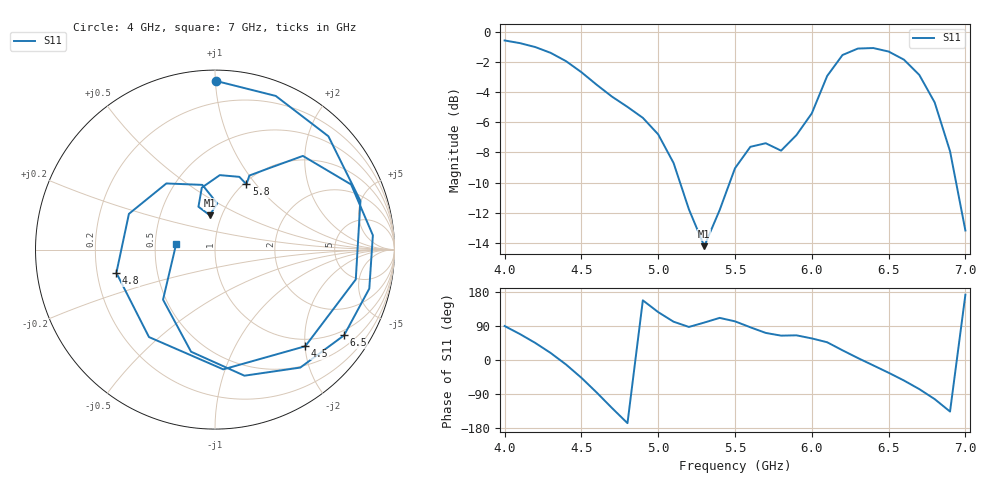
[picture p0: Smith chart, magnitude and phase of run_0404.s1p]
! Touchstone file exported from HFSS 2024.2.0
!  File:  C:/Users/wsak9/Desktop/Sim Fast/Widenad Patch/WP_AI_V1_sweep.aedt
!  Generated:  08:25:48 AM Oct 14, 2026
!  Design:  A1_model
!  Project:  WP_AI_V1_sweep
!  Setup:  Setup1
!  Solution:  Sweep
! Variables:
!  Air_gap = 2.01mm
!  Curve_Amp1 = 2.82
!  Curve_len1 = 1
!  Curve_pos = 10.82mm
!  Extra = 7.4mm
!  H_sub = 0.79mm
!  L_Patch = 17.64mm
!  L_Patch1 = 17.67mm
!  Sx = 4.07mm
!  Sy = 3.26mm
!  WS = 1.24mm
!  W_Patch = 12.2mm
!  W_Patch1 = 10.27mm
!Data is not renormalized
# GHz S MA
! Terminal data exported
! Port[1] = 1
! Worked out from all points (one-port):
!   31 points, 4 GHz to 7 GHz, reference per port
!   lowest |S11| = -14.2 dB at 5.3 GHz (marker M1), VSWR 1.48
!   |S11| at or under -10 dB: 5.142 GHz to 5.466 GHz (323.6 MHz wide, 6.1 % of centre); 6.939 GHz to end of sweep
!   S11 on the Smith chart (normalised r, x): 4 GHz: 0.06, +1.00; 4.5 GHz: 0.85, -2.01; 4.8 GHz: 0.28, -0.11; 5.8 GHz: 1.03, +0.90; 6.5 GHz: 0.83, -3.11; 7 GHz: 0.64, +0.04
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4  0.9397 89.7
4.1  0.9206 68.4
4.2  0.8932 45.0
4.3  0.8544 18.5
4.4  0.8018 -12.0
4.5  0.7368 -47.0
4.6  0.6688 -86.0
4.7  0.6105 -127.1
4.8  0.5646 -166.7
4.9  0.5193 157.4
5  0.4574 126.3
5.1  0.3674 101.0
5.2  0.2575 87.2
5.3  0.1942 98.8
5.5  0.3529 102.0
5.6  0.4158 86.3
5.8  0.4038 64.3
5.9  0.4549 65.1
6.1  0.7157 46.8
6.2  0.8406 25.6
6.3  0.8832 5.2
6.4  0.8867 -14.2
6.5  0.8632 -33.6
6.6  0.8111 -54.1
6.7  0.7214 -76.9
6.8  0.5843 -103.2
6.9  0.4021 -136.1
7  0.2189 172.5
